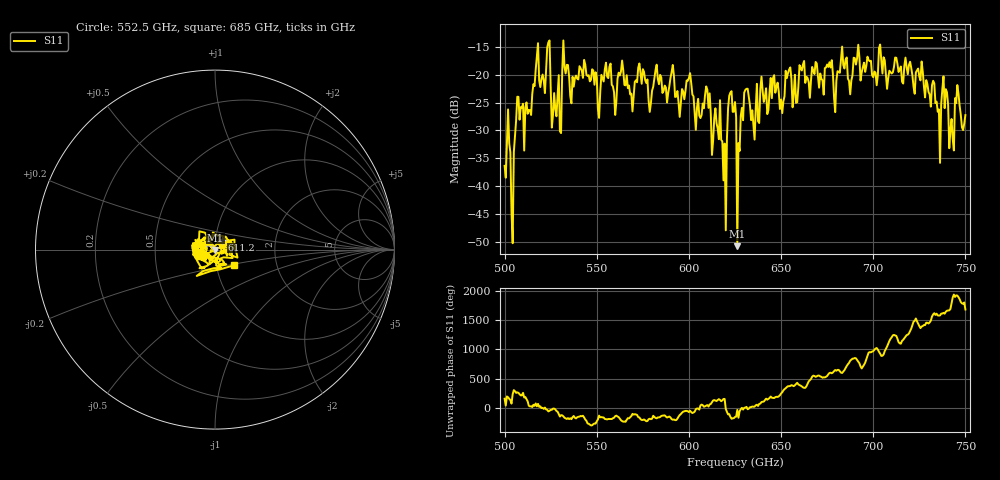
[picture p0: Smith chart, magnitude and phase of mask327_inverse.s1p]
!Created with skrf (http://scikit-rf.org).
# GHz S MA R 50.0
!freq magS11 angS11
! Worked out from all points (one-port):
!   401 points, 500 GHz to 750 GHz, reference 50 ohm
!   lowest |S11| = -50.8 dB at 626.2 GHz (marker M1), VSWR 1.01, Z = 50.2 - j0.174 ohm
!   |S11| at or under -10 dB: start of sweep to end of sweep
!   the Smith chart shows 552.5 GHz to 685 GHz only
!   S11 on the Smith chart (normalised r, x): 552.5 GHz: 0.83, -0.05; 611.2 GHz: 1.07, +0.12; 685 GHz: 1.21, -0.22
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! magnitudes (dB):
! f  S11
! 500 GHz  -36.3
! 504.4 GHz  -50.2
! 507.5 GHz  -24.0
! 511.9 GHz  -25.0
! 516.9 GHz  -19.1
! 523.8 GHz  -14.2
! 526.9 GHz  -23.3
! 531.2 GHz  -19.5
! 533.1 GHz  -19.8
! 552.5 GHz  -20.0
! 562.5 GHz  -20.1
! 593.8 GHz  -22.9
! 611.2 GHz  -23.3
! 618.8 GHz  -39.0
! 622.5 GHz  -23.2
! 625 GHz  -24.9
! 626.2 GHz  -50.8
! 631.2 GHz  -22.5
! 635 GHz  -29.0
! 656.2 GHz  -25.8
! 685 GHz  -17.3
! 687.5 GHz  -23.5
! 718.8 GHz  -19.9
! 735 GHz  -26.7
! 738.8 GHz  -26.0
! 742.5 GHz  -27.9
! 745.6 GHz  -21.9
! 750 GHz  -27.2
